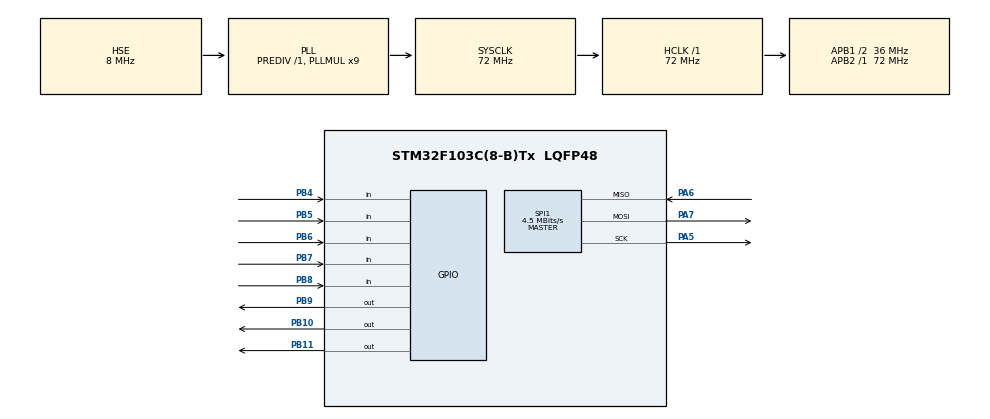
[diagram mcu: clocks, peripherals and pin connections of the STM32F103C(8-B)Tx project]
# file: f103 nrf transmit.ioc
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Mcu.Family=STM32F1
Mcu.Name=STM32F103C(8-B)Tx
Mcu.Package=LQFP48
NVIC.PriorityGroup=NVIC_PRIORITYGROUP_4
NVIC.SPI1_IRQn=true\:1\:0\:true\:false\:true\:true\:true\:true
PA13.Mode=Serial_Wire
PA13.Signal=SYS_JTMS-SWDIO
PA14.Mode=Serial_Wire
PA14.Signal=SYS_JTCK-SWCLK
PA5.Mode=Full_Duplex_Master
PA5.Signal=SPI1_SCK
PA6.Mode=Full_Duplex_Master
PA6.Signal=SPI1_MISO
PA7.Mode=Full_Duplex_Master
PA7.Signal=SPI1_MOSI
PB10.Signal=GPIO_Output
PB11.Signal=GPIO_Output
PB4.GPIO_PuPd=GPIO_PULLUP
PB4.Signal=GPIO_Input
PB5.GPIO_PuPd=GPIO_PULLUP
PB5.Signal=GPIO_Input
PB6.GPIO_PuPd=GPIO_PULLUP
PB6.Signal=GPIO_Input
PB7.GPIO_PuPd=GPIO_PULLUP
PB7.Signal=GPIO_Input
PB8.GPIO_PuPd=GPIO_PULLUP
PB8.Signal=GPIO_Input
PB9.Signal=GPIO_Output
PD0-OSC_IN.Mode=HSE-External-Oscillator
PD0-OSC_IN.Signal=RCC_OSC_IN
PD1-OSC_OUT.Mode=HSE-External-Oscillator
PD1-OSC_OUT.Signal=RCC_OSC_OUT
ProjectManager.HeapSize=0x200
ProjectManager.StackSize=0x400
ProjectManager.TargetToolchain=MDK-ARM V5.32
RCC.ADCPresc=RCC_ADCPCLK2_DIV6
RCC.AHBFreq_Value=72000000
RCC.APB1CLKDivider=RCC_HCLK_DIV2
RCC.APB1Freq_Value=36000000
RCC.APB1TimFreq_Value=72000000
RCC.APB2Freq_Value=72000000
RCC.APB2TimFreq_Value=72000000
RCC.HCLKFreq_Value=72000000
RCC.PLLMUL=RCC_PLL_MUL9
RCC.PLLSourceVirtual=RCC_PLLSOURCE_HSE
RCC.SYSCLKFreq_VALUE=72000000
RCC.SYSCLKSource=RCC_SYSCLKSOURCE_PLLCLK
RCC.USBFreq_Value=72000000
SPI1.BaudRatePrescaler=SPI_BAUDRATEPRESCALER_16
SPI1.CalculateBaudRate=4.5 MBits/s
SPI1.Direction=SPI_DIRECTION_2LINES
SPI1.Mode=SPI_MODE_MASTER
SPI1.VirtualType=VM_MASTER
board=custom

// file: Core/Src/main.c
/* USER CODE BEGIN Header */
/**
  ******************************************************************************
  * @file           : main.c
  * @brief          : Main program body
  ******************************************************************************
  * @attention
  *
  * Copyright (c) 2024 STMicroelectronics.
  * All rights reserved.
  *
  * This software is licensed under terms that can be found in the LICENSE file
  * in the root directory of this software component.
  * If no LICENSE file comes with this software, it is provided AS-IS.
  *
  ******************************************************************************
  */
/* USER CODE END Header */
#include "main.h"

/* USER CODE BEGIN Includes */
#include "NRF24L01.h"
#include "Button.h"
/* USER CODE END Includes */

SPI_HandleTypeDef hspi1;

/* USER CODE BEGIN PV */
Button_Typedef button1;
Button_Typedef button2;
Button_Typedef button3;
Button_Typedef button4;
Button_Typedef button5;
/* USER CODE END PV */

void SystemClock_Config(void);
static void MX_GPIO_Init(void);
static void MX_SPI1_Init(void);

/* USER CODE BEGIN 0 */
uint8_t led_flag = 1;
uint8_t button1_flag = 0;
uint8_t is_transmit = 0;
uint8_t count;
uint8_t data[50];
uint8_t TxAddress[] = {0xEE, 0xDD, 0xCC, 0xBB, 0xAA};
uint8_t TxData[32];
uint8_t TxDataTemp;

void btn_pressing_callback(Button_Typedef *ButtonX)
{
	if (ButtonX == &button1)
	{
		button1_flag = 1;
	}
	if (ButtonX == &button2)
	{
		TxData[1] = 'F';
	}
	if (ButtonX == &button3)
	{
		TxData[1] = 'B';
	}
	if (ButtonX == &button4)
	{
		TxData[1] = 'L';
	}
	if (ButtonX == &button5)
	{
		TxData[1] = 'R';
	}
}
void btn_release_callback(Button_Typedef *ButtonX)
{
		TxData[1] = 'S';
}

/* USER CODE END 0 */

int main(void)
{

  /* MCU Configuration--------------------------------------------------------*/

  /* Reset of all peripherals, Initializes the Flash interface and the Systick. */
  HAL_Init();

  /* Configure the system clock */
  SystemClock_Config();

  /* Initialize all configured peripherals */
  MX_GPIO_Init();
  MX_SPI1_Init();
  /* USER CODE BEGIN 2 */

	NRF24_Init();

	NRF24_TxMode(TxAddress, 10);

	button_init(&button1, GPIOB, GPIO_PIN_8);
	button_init(&button2, GPIOB, GPIO_PIN_7);
	button_init(&button3, GPIOB, GPIO_PIN_6);
	button_init(&button4, GPIOB, GPIO_PIN_5);
	button_init(&button5, GPIOB, GPIO_PIN_4);
  /* USER CODE END 2 */

  /* Infinite loop */
  while (1)
  {

    /* USER CODE BEGIN 3 */
		//Xu li nut nhan
		button_handle(&button1);
		button_handle(&button2);
		button_handle(&button3);
		button_handle(&button4);
		button_handle(&button5);
		if (button1_flag == 1)
		{
			if (led_flag)
			{
				TxData[0] = 1;
				led_flag = 0;
			}
			else
			{
				TxData[0] = 0;
				led_flag = 1;
			}
			HAL_GPIO_TogglePin(GPIOB, GPIO_PIN_9);
			count++;
			button1_flag = 0;
			NRF24_Transmit(TxData);
		}
		if (TxDataTemp != TxData[1])
		{
			NRF24_Transmit(TxData);
			TxDataTemp = TxData[1];
		}
  }
  /* USER CODE END 3 */
}

void SystemClock_Config(void)
{
  RCC_OscInitTypeDef RCC_OscInitStruct = {0};
  RCC_ClkInitTypeDef RCC_ClkInitStruct = {0};

  /** Initializes the RCC Oscillators according to the specified parameters
  * in the RCC_OscInitTypeDef structure.
  */
  RCC_OscInitStruct.OscillatorType = RCC_OSCILLATORTYPE_HSE;
  RCC_OscInitStruct.HSEState = RCC_HSE_ON;
  RCC_OscInitStruct.HSEPredivValue = RCC_HSE_PREDIV_DIV1;
  RCC_OscInitStruct.HSIState = RCC_HSI_ON;
  RCC_OscInitStruct.PLL.PLLState = RCC_PLL_ON;
  RCC_OscInitStruct.PLL.PLLSource = RCC_PLLSOURCE_HSE;
  RCC_OscInitStruct.PLL.PLLMUL = RCC_PLL_MUL9;
  if (HAL_RCC_OscConfig(&RCC_OscInitStruct) != HAL_OK)
  {
    Error_Handler();
  }

  /** Initializes the CPU, AHB and APB buses clocks
  */
  RCC_ClkInitStruct.ClockType = RCC_CLOCKTYPE_HCLK|RCC_CLOCKTYPE_SYSCLK
                              |RCC_CLOCKTYPE_PCLK1|RCC_CLOCKTYPE_PCLK2;
  RCC_ClkInitStruct.SYSCLKSource = RCC_SYSCLKSOURCE_PLLCLK;
  RCC_ClkInitStruct.AHBCLKDivider = RCC_SYSCLK_DIV1;
  RCC_ClkInitStruct.APB1CLKDivider = RCC_HCLK_DIV2;
  RCC_ClkInitStruct.APB2CLKDivider = RCC_HCLK_DIV1;

  if (HAL_RCC_ClockConfig(&RCC_ClkInitStruct, FLASH_LATENCY_2) != HAL_OK)
  {
    Error_Handler();
  }
}

static void MX_SPI1_Init(void)
{

  /* SPI1 parameter configuration*/
  hspi1.Instance = SPI1;
  hspi1.Init.Mode = SPI_MODE_MASTER;
  hspi1.Init.Direction = SPI_DIRECTION_2LINES;
  hspi1.Init.DataSize = SPI_DATASIZE_8BIT;
  hspi1.Init.CLKPolarity = SPI_POLARITY_LOW;
  hspi1.Init.CLKPhase = SPI_PHASE_1EDGE;
  hspi1.Init.NSS = SPI_NSS_SOFT;
  hspi1.Init.BaudRatePrescaler = SPI_BAUDRATEPRESCALER_16;
  hspi1.Init.FirstBit = SPI_FIRSTBIT_MSB;
  hspi1.Init.TIMode = SPI_TIMODE_DISABLE;
  hspi1.Init.CRCCalculation = SPI_CRCCALCULATION_DISABLE;
  hspi1.Init.CRCPolynomial = 10;
  if (HAL_SPI_Init(&hspi1) != HAL_OK)
  {
    Error_Handler();
  }

}

static void MX_GPIO_Init(void)
{
  GPIO_InitTypeDef GPIO_InitStruct = {0};

  /* GPIO Ports Clock Enable */
  __HAL_RCC_GPIOD_CLK_ENABLE();
  __HAL_RCC_GPIOA_CLK_ENABLE();
  __HAL_RCC_GPIOB_CLK_ENABLE();

  /*Configure GPIO pin Output Level */
  HAL_GPIO_WritePin(GPIOB, GPIO_PIN_10|GPIO_PIN_11|GPIO_PIN_9, GPIO_PIN_RESET);

  /*Configure GPIO pins : PB10 PB11 PB9 */
  GPIO_InitStruct.Pin = GPIO_PIN_10|GPIO_PIN_11|GPIO_PIN_9;
  GPIO_InitStruct.Mode = GPIO_MODE_OUTPUT_PP;
  GPIO_InitStruct.Pull = GPIO_NOPULL;
  GPIO_InitStruct.Speed = GPIO_SPEED_FREQ_LOW;
  HAL_GPIO_Init(GPIOB, &GPIO_InitStruct);

  /*Configure GPIO pins : PB4 PB5 PB6 PB7
                           PB8 */
  GPIO_InitStruct.Pin = GPIO_PIN_4|GPIO_PIN_5|GPIO_PIN_6|GPIO_PIN_7
                          |GPIO_PIN_8;
  GPIO_InitStruct.Mode = GPIO_MODE_INPUT;
  GPIO_InitStruct.Pull = GPIO_PULLUP;
  HAL_GPIO_Init(GPIOB, &GPIO_InitStruct);

}

void Error_Handler(void)
{
  __disable_irq();
  while (1)
  {
  }
}
